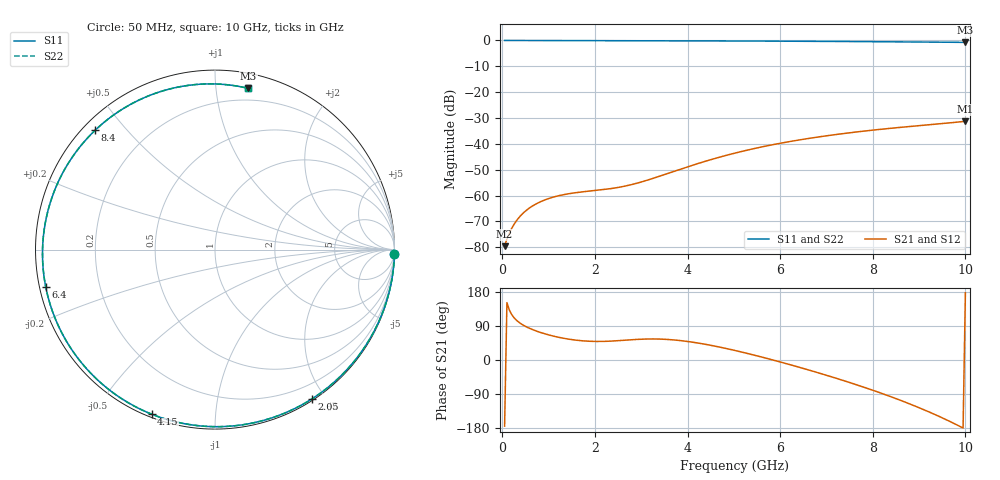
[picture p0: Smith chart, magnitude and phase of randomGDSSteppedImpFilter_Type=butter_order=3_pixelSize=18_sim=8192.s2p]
! freq	dB(S11)	phase(S11)	dB(S12)	phase(S12)
!  dB(S21)	phase(S21)	dB(S22)	phase(S22)
!S-par simulation data
#  GHz  S  DB  R 50
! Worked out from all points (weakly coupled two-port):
!   200 points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, 50 MHz to 10 GHz, reference 50 ohm
!   highest |S21| = -31.27 dB at 10 GHz (marker M1); lowest = -79.6 dB at 50 MHz (marker M2)
!   lowest |S11| = -0.7 dB at 10 GHz (marker M3), VSWR 23.20, Z = 5.39 + j61.1 ohm
!   |S11| at or under -10 dB: nowhere
!   |S22| runs from -0.7 to 0.0 dB; largest |S21 - S12| = 0
!   S11 on the Smith chart (normalised r, x): 50 MHz: 0, -80; 2.05 GHz: 0.02, -1.84; 4.15 GHz: 0.01, -0.69; 6.4 GHz: 0.02, -0.11; 8.4 GHz: 0.03, +0.41; 10 GHz: 0.11, +1.22
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0.05  -0.00 -1.4  -79.57 -174.6  -79.57 -174.6  -0.00 -1.4
0.15  -0.00 -4.3  -74.61 132.6  -74.61 132.6  -0.00 -4.3
0.25  -0.00 -7.1  -71.22 112.1  -71.22 112.1  -0.00 -7.1
0.4  -0.01 -11.4  -67.70 95.9  -67.70 95.9  -0.01 -11.4
0.6  -0.02 -17.1  -64.63 83.0  -64.63 83.0  -0.02 -17.1
1.05  -0.04 -29.7  -60.86 64.7  -60.86 64.7  -0.04 -29.7
1.75  -0.06 -49.0  -58.52 50.4  -58.52 50.4  -0.06 -49.0
2.05  -0.07 -57.1  -57.95 48.9  -57.95 48.9  -0.07 -57.1
2.7  -0.09 -74.3  -56.14 52.7  -56.14 52.7  -0.09 -74.2
3.4  -0.12 -92.3  -52.49 55.2  -52.49 55.2  -0.12 -92.2
4.15  -0.15 -111.1  -48.03 46.3  -48.03 46.3  -0.15 -111.1
5.05  -0.20 -133.4  -43.45 24.4  -43.45 24.4  -0.20 -133.4
5.75  -0.25 -150.8  -40.64 3.1  -40.64 3.1  -0.25 -150.8
6.4  -0.30 -167.5  -38.51 -18.7  -38.51 -18.7  -0.30 -167.5
6.7  -0.33 -175.4  -37.66 -29.4  -37.66 -29.4  -0.33 -175.4
7.55  -0.42 161.0  -35.60 -61.4  -35.60 -61.4  -0.42 161.0
8.35  -0.51 136.7  -34.04 -95.0  -34.04 -95.0  -0.51 136.7
8.4  -0.52 135.1  -33.95 -97.3  -33.95 -97.3  -0.52 135.1
8.85  -0.57 120.2  -33.20 -118.4  -33.20 -118.4  -0.57 120.2
9.25  -0.63 106.2  -32.56 -138.9  -32.56 -138.9  -0.63 106.2
9.65  -0.69 91.6  -31.90 -161.2  -31.90 -161.2  -0.69 91.6
10  -0.75 78.3  -31.27 177.3  -31.27 177.3  -0.75 78.3
